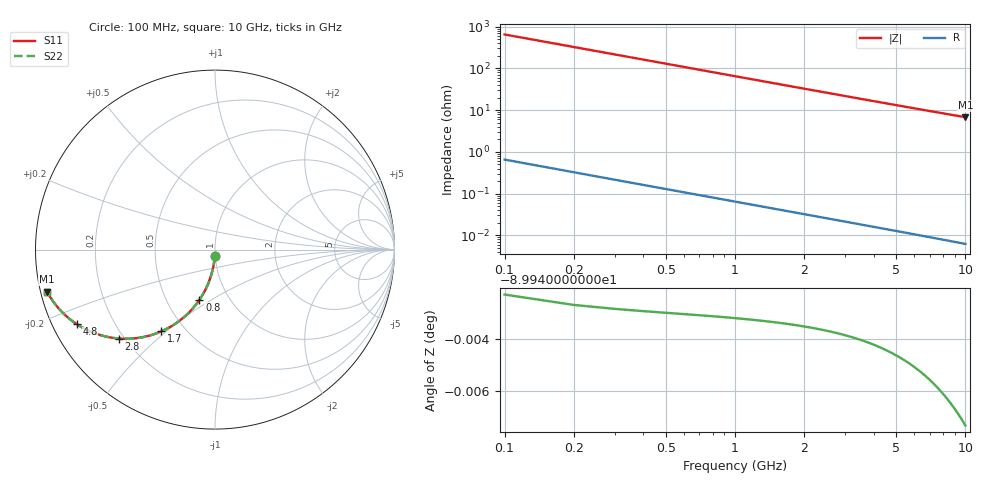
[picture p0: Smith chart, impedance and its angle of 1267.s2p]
# Hz S RI R 50.00
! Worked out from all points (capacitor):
!   100 points, 100 MHz to 10 GHz, reference 50 ohm
!   read as one part in shunt: C = 2.45 pF near 100 MHz
!   lowest |Z| = 6.79 ohm at 10 GHz (marker M1)
!   S11 on the Smith chart (normalised r, x): 100 MHz: 0.99, -0.08; 800 MHz: 0.73, -0.44; 1.7 GHz: 0.37, -0.48; 2.8 GHz: 0.18, -0.38; 4.8 GHz: 0.07, -0.25; 10 GHz: 0.02, -0.12
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1e8  -0.0015 -0.0383  0.9985 -0.0385  0.9985 -0.0385  -0.0015 -0.0383
2e8  -0.00595 -0.0763  0.994 -0.0767  0.994 -0.0767  -0.00595 -0.0763
3e8  -0.0132 -0.1136  0.9867 -0.1142  0.9867 -0.1142  -0.0132 -0.1136
4e8  -0.0233 -0.1499  0.9767 -0.1507  0.9767 -0.1507  -0.0233 -0.1499
5e8  -0.0358 -0.1849  0.9641 -0.1859  0.9641 -0.1859  -0.0358 -0.1849
6e8  -0.0507 -0.2184  0.9492 -0.2196  0.9492 -0.2196  -0.0507 -0.2184
8e8  -0.0867 -0.2801  0.9133 -0.2817  0.9133 -0.2817  -0.0867 -0.2801
1e9  -0.129 -0.3337  0.871 -0.3357  0.871 -0.3357  -0.129 -0.3337
1.2e9  -0.1756 -0.3788  0.8244 -0.3812  0.8244 -0.3812  -0.1756 -0.3788
1.4e9  -0.2245 -0.4154  0.7754 -0.4182  0.7754 -0.4182  -0.2245 -0.4154
1.7e9  -0.2989 -0.4556  0.7011 -0.459  0.7011 -0.459  -0.2989 -0.4556
1.8e9  -0.3233 -0.4654  0.6767 -0.469  0.6767 -0.469  -0.3233 -0.4654
2.3e9  -0.4376 -0.4933  0.5623 -0.4979  0.5623 -0.4979  -0.4376 -0.4933
2.8e9  -0.5351 -0.4955  0.4649 -0.5011  0.4649 -0.5011  -0.5351 -0.4955
3.4e9  -0.6287 -0.4792  0.3713 -0.4861  0.3713 -0.4861  -0.6287 -0.4792
4.1e9  -0.7107 -0.4488  0.2892 -0.4571  0.2892 -0.4571  -0.7107 -0.4488
4.8e9  -0.7707 -0.4149  0.2292 -0.4247  0.2292 -0.4247  -0.7707 -0.4149
5.1e9  -0.7914 -0.4006  0.2086 -0.411  0.2086 -0.411  -0.7914 -0.4006
5.8e9  -0.8305 -0.3687  0.1694 -0.3806  0.1694 -0.3806  -0.8305 -0.3687
6.7e9  -0.8673 -0.3318  0.1326 -0.3456  0.1326 -0.3456  -0.8673 -0.3318
8.4e9  -0.9113 -0.2748  0.0885 -0.2924  0.0885 -0.2924  -0.9113 -0.2748
1e10  -0.9359 -0.2336  0.0638 -0.2547  0.0638 -0.2547  -0.9359 -0.2336
